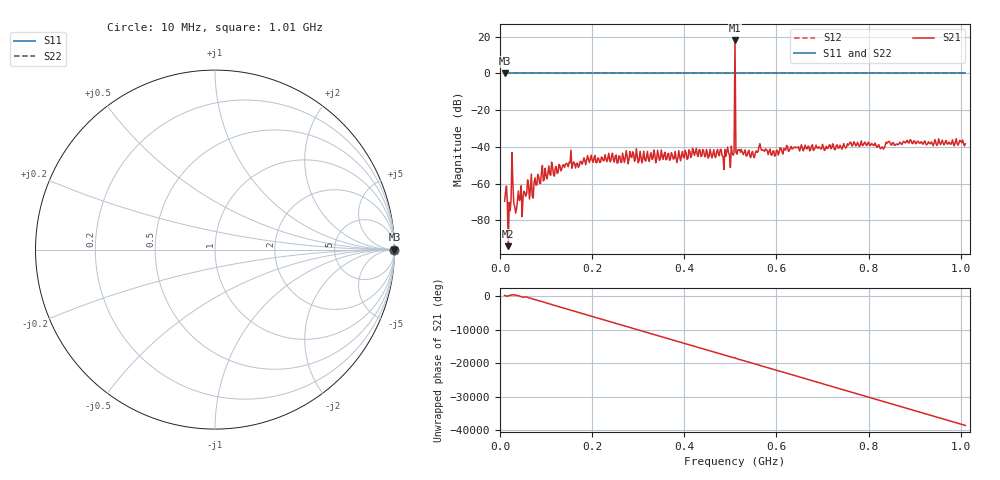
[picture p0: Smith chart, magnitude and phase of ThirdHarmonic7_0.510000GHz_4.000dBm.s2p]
! 8/17/2025 2:48:44 PM
! C:\ANRITSUVNA\TEMP\TEMP.S2P
! CHANNEL.1
! TR.MEASUREMENT
! RAW.DATA
! RF.CORRECTION.OFF
! AVERAGING.OFF
! IF.BANDWIDTH: 5KHZ
! SWEEPTYPE:  FREQ.SWEEP(Linear)
! Reference Plane Port Info
! PORT:  PORT1  PORT2
! DISTANCE:  0  m  0  m
! TIME:  0  s  0  s
! PHASE.OFFSET:  0  deg.  0  deg.
! LOSS:  0  dB  0  dB
! REF.LOSS:  0  dB  0  dB
! REF.FREQ:  0  Hz  0  Hz
! Power Info
! POWER:  -20  dBm  -20  dBm
! EFF.POWER:  -20  dBm  -20  dBm
! SOURCE.ATTEN:  0  dB  0  dB
! TEST.ATTEN:  0  dB  0  dB
# GHZ S RI R 50.0
! FREQ.GHZ  S11RE  S11IM  S21RE  S21IM  S12RE  S12IM  S22RE  S22IM
!; PortSelection: Port_12
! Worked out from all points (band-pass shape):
!   501 points, 10 MHz to 1.01 GHz, reference 50 ohm
!   highest |S21| = 17.98 dB at 510 MHz (marker M1); lowest = -94.0 dB at 18 MHz (marker M2)
!   |S21| within 3 dB of the highest: 509.9017 MHz to 510.0989 MHz (197.2 kHz wide, 0.0387 % of centre)
!   lowest |S11| = 0.0 dB at 10 MHz (marker M3)
!   |S11| at or under -10 dB: nowhere
!   |S22| runs from 0.0 to 0.0 dB; largest |S21 - S12| = 7.6
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0.01  1 0  -0.000319 9.23e-05  1 0  1 0
0.018  1 0  9.3e-06 1.76e-05  1 0  1 0
0.02  1 0  -0.000294 0.000106  1 0  1 0
0.024  1 0  -0.000189 -0.000303  1 0  1 0
0.03  1 0  8.18e-05 0.000272  1 0  1 0
0.034  1 0  0.000138 -7.68e-05  1 0  1 0
0.042  1 0  0.000285 -0.000205  1 0  1 0
0.052  1 0  0.000402 -0.000477  1 0  1 0
0.064  1 0  -0.000167 0.000343  1 0  1 0
0.068  1 0  0.00155 -0.000949  1 0  1 0
0.094  1 0  0.00118 -0.000192  1 0  1 0
0.178  1 0  -0.0033 -0.000731  1 0  1 0
0.344  1 0  0.0054 -0.00244  1 0  1 0
0.504  1 0  0.00461 0.00484  1 0  1 0
0.506  1 0  0.00558 -0.00209  1 0  1 0
0.51  1 0  3.3 -7.208  1 0  1 0
0.514  1 0  0.00574 0.00275  1 0  1 0
0.516  1 0  0.00517 -0.00654  1 0  1 0
0.678  1 0  0.000185 -0.0115  1 0  1 0
0.83  1 0  0.0034 -0.00944  1 0  1 0
0.844  1 0  -0.000119 0.0143  1 0  1 0
1.01  1 0  -0.00245 -0.012  1 0  1 0
